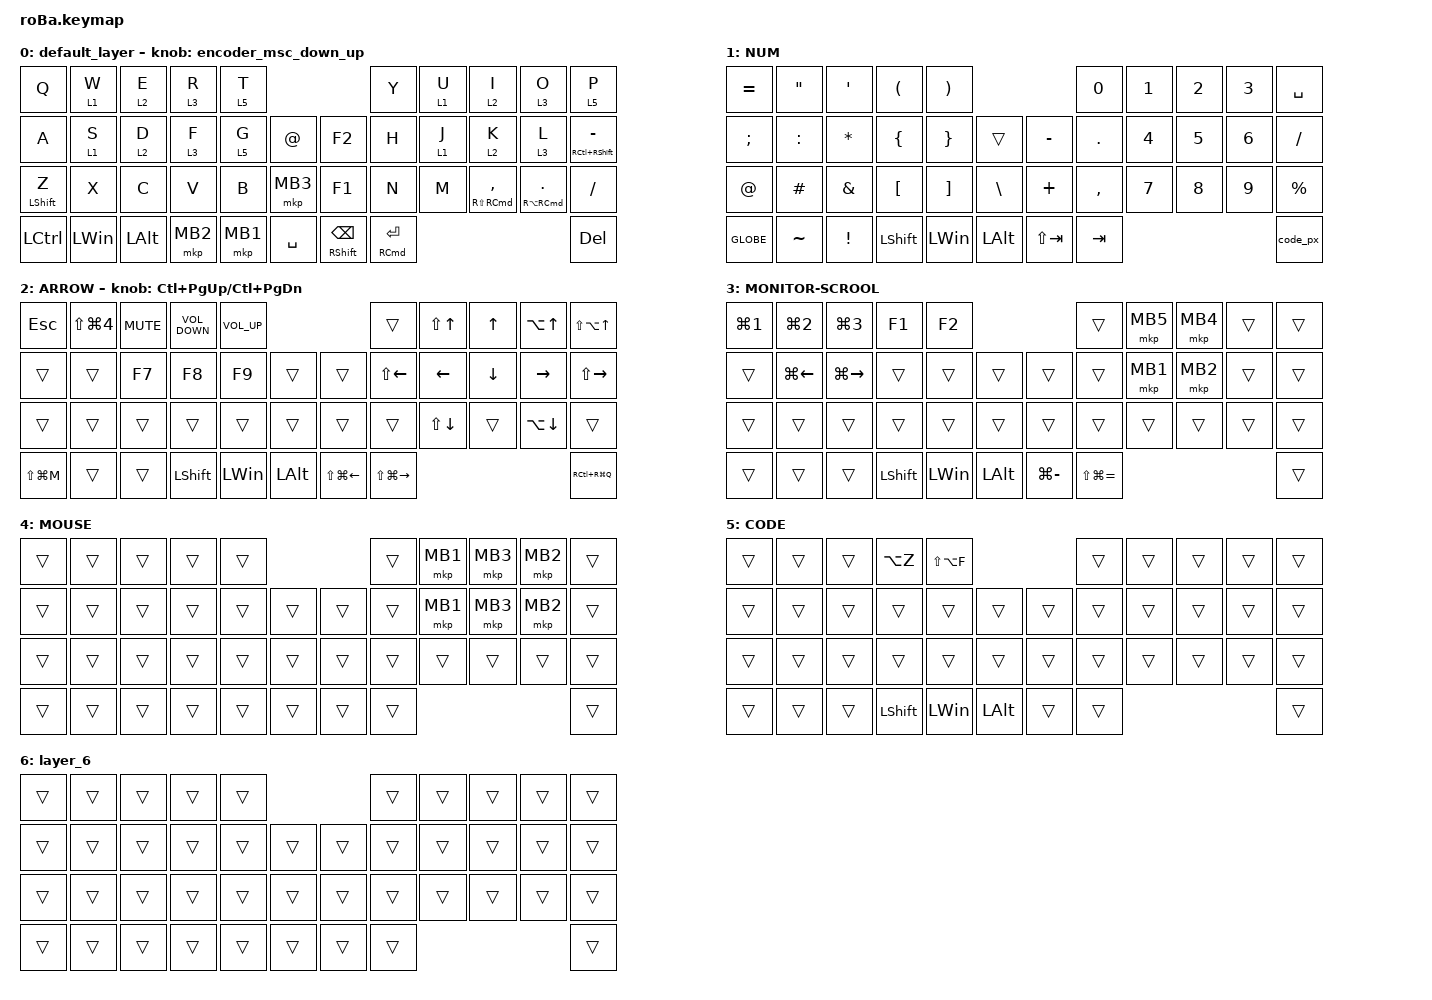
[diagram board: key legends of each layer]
#include <behaviors.dtsi>
#include <dt-bindings/zmk/keys.h>
#include <dt-bindings/zmk/pointing.h>

#define ZMK_POINTING_DEFAULT_SCRL_VAL 80

// #define MOUSE 4

#define SCROLL 3

// #define NUM 6

&mt {
    flavor = "balanced";
    quick-tap-ms = <0>;
};

/ {
    combos {
        compatible = "zmk,combos";

        tab {
            bindings = <&kp TAB>;
            key-positions = <11 12>;
        };

        shift_tab {
            bindings = <&kp LS(TAB)>;
            key-positions = <12 13>;
        };

        mute {
            bindings = <&kp K_MUTE>;
            key-positions = <1 2>;
        };

        vo-down {
            bindings = <&kp C_VOLUME_DOWN>;
            key-positions = <2 3>;
        };

        vo-up {
            bindings = <&kp C_VOLUME_UP>;
            key-positions = <3 4>;
        };

        lang2 {
            bindings = <&kp LANG2>;
            key-positions = <6 7>;
        };

        lang1 {
            bindings = <&kp LANG1>;
            key-positions = <7 8>;
        };

        big {
            bindings = <&kp EXCLAMATION>;
            key-positions = <32 31>;
        };

        nami {
            bindings = <&kp TILDE>;
            key-positions = <30 31>;
        };

        hatena {
            bindings = <&kp QUESTION>;
            key-positions = <32 33>;
        };

        click {
            bindings = <&mkp MB1>;
            key-positions = <18 19>;
        };

        click2 {
            bindings = <&mkp MB2>;
            key-positions = <20 21>;
        };

        click3 {
            bindings = <&mkp MB3>;
            key-positions = <20 19>;
        };
    };

    macros {
        to_layer_0: to_layer_0 {
            compatible = "zmk,behavior-macro-one-param";
            #binding-cells = <1>;
            bindings = <&to 0 &macro_param_1to1 &kp MACRO_PLACEHOLDER>;
            label = "TO_LAYER_0";
        };

        code_px: code_px {
            compatible = "zmk,behavior-macro";
            #binding-cells = <0>;
            bindings = <&kp LANG2 &kp P &kp X>;
            label = "CODE_PX";
        };
    };

    behaviors {
        encoder_msc_down_up: encoder_msc_down_up {
            compatible = "zmk,behavior-sensor-rotate";
            label = "ENCODER_MSC_DOWN_UP";
            #sensor-binding-cells = <0>;
            bindings = <&msc SCRL_DOWN>, <&msc SCRL_UP>;

            tap-ms = <20>;
        };
    };

    keymap {
        compatible = "zmk,keymap";

        default_layer {
            bindings = <
&kp Q             &lt 1 W       &lt 2 E       &lt 3 R   &lt 5 T                                             &kp Y                    &lt 1 U  &lt 2 I                      &lt 3 O                       &lt 5 P
&kp A             &lt 1 S       &lt 2 D       &lt 3 F   &lt 5 G   &kp AT         &kp F2                     &kp H                    &lt 1 J  &lt 2 K                      &lt 3 L                       &mt RC(RIGHT_SHIFT) MINUS
&mt LEFT_SHIFT Z  &kp X         &kp C         &kp V     &kp B     &mkp MB3       &kp F1                     &kp N                    &kp M    &mt RS(RIGHT_COMMAND) COMMA  &mt RA(RIGHT_COMMAND) PERIOD  &kp SLASH
&kp LCTRL         &kp LEFT_WIN  &kp LEFT_ALT  &mkp MB2  &mkp MB1  &kp SPACE      &mt RIGHT_SHIFT BACKSPACE  &mt RIGHT_COMMAND ENTER                                                                      &kp DEL
            >;

            sensor-bindings = <&encoder_msc_down_up>;
        };

        NUM {
            bindings = <
&kp EQUAL    &kp DOUBLE_QUOTES  &kp SQT          &kp LEFT_PARENTHESIS  &kp RIGHT_PARENTHESIS                             &kp N0     &kp N1  &kp N2  &kp N3  &kp SPACE
&kp SEMI     &kp COLON          &kp STAR         &kp LEFT_BRACE        &kp RIGHT_BRACE        &trans        &kp MINUS    &kp DOT    &kp N4  &kp N5  &kp N6  &kp FSLH
&kp AT_SIGN  &kp POUND          &kp AMPERSAND    &kp LBKT              &kp RBKT               &kp BSLH      &kp PLUS     &kp COMMA  &kp N7  &kp N8  &kp N9  &kp PERCENT
&kp GLOBE    &kp TILDE          &kp EXCLAMATION  &kp LSHFT             &kp LEFT_WIN           &kp LALT      &kp LS(TAB)  &kp TAB                            &code_px
            >;
        };

        ARROW {
            bindings = <
&kp ESCAPE     &kp LS(LG(NUMBER_4))  &kp K_MUTE  &kp C_VOLUME_DOWN  &kp C_VOLUME_UP                                  &trans             &kp LS(UP)    &kp UP    &kp LA(UP)    &kp LS(LA(UP))
&trans         &trans                &kp F7      &kp F8             &kp F9           &trans        &trans            &kp LS(LEFT)       &kp LEFT      &kp DOWN  &kp RIGHT     &kp LS(RIGHT)
&trans         &trans                &trans      &trans             &trans           &trans        &trans            &trans             &kp LS(DOWN)  &trans    &kp LA(DOWN)  &trans
&kp LS(LG(M))  &trans                &trans      &kp LSHFT          &kp LEFT_WIN     &kp LALT      &kp LS(LG(LEFT))  &kp LS(LG(RIGHT))                                        &kp RC(RG(Q))
            >;

            sensor-bindings = <&inc_dec_kp LC(PAGE_UP) LC(PAGE_DOWN)>;
        };

        MONITOR-SCROOL {
            bindings = <
&kp LG(N1)  &kp LG(N2)    &kp LG(N3)     &kp F1     &kp F2                                     &trans             &mkp MB5  &mkp MB4  &trans  &trans
&trans      &kp LG(LEFT)  &kp LG(RIGHT)  &trans     &trans        &trans        &trans         &trans             &mkp MB1  &mkp MB2  &trans  &trans
&trans      &trans        &trans         &trans     &trans        &trans        &trans         &trans             &trans    &trans    &trans  &trans
&trans      &trans        &trans         &kp LSHFT  &kp LEFT_WIN  &kp LALT      &kp LG(MINUS)  &kp LS(LG(EQUAL))                              &trans
            >;
        };

        MOUSE {
            bindings = <
&trans  &trans  &trans  &trans  &trans                      &trans  &mkp MB1  &mkp MB3  &mkp MB2  &trans
&trans  &trans  &trans  &trans  &trans  &trans      &trans  &trans  &mkp MB1  &mkp MB3  &mkp MB2  &trans
&trans  &trans  &trans  &trans  &trans  &trans      &trans  &trans  &trans    &trans    &trans    &trans
&trans  &trans  &trans  &trans  &trans  &trans      &trans  &trans                                &trans
            >;
        };

        CODE {
            bindings = <
&trans  &trans  &trans  &kp LA(Z)       &kp LS(LA(F))                            &trans  &trans  &trans  &trans  &trans
&trans  &trans  &trans  &trans          &trans         &trans            &trans  &trans  &trans  &trans  &trans  &trans
&trans  &trans  &trans  &trans          &trans         &trans            &trans  &trans  &trans  &trans  &trans  &trans
&trans  &trans  &trans  &kp LEFT_SHIFT  &kp LEFT_WIN   &kp LEFT_ALT      &trans  &trans                          &trans
            >;
        };

        layer_6 {
            bindings = <
&trans  &trans  &trans  &trans  &trans                      &trans  &trans  &trans  &trans  &trans
&trans  &trans  &trans  &trans  &trans  &trans      &trans  &trans  &trans  &trans  &trans  &trans
&trans  &trans  &trans  &trans  &trans  &trans      &trans  &trans  &trans  &trans  &trans  &trans
&trans  &trans  &trans  &trans  &trans  &trans      &trans  &trans                          &trans
            >;
        };
    };
};
